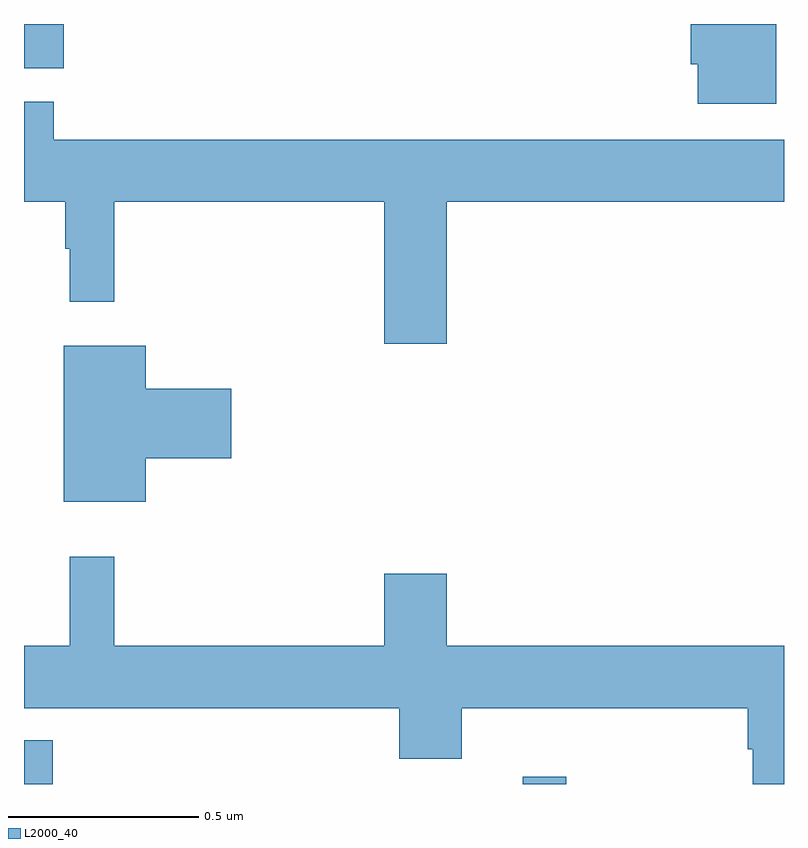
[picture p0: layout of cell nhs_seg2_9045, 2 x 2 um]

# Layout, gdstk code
import gdstk
lib = gdstk.Library(unit=1e-6, precision=1e-09)
def R(c, l, rs):  # rectangles x0, y0, x1, y1
    for r in rs: c.add(gdstk.rectangle(r[:2], r[2:], *l))
def P(c, l, *ps):  # polygons
    for p in ps: c.add(gdstk.Polygon(p, *l))
L2000_40 = (2000, 40)

nhs_seg2_9045 = lib.new_cell('nhs_seg2_9045')
R(nhs_seg2_9045, L2000_40, [(224,616.8,224.075,616.915), (225.312,616.8,225.427,616.819), (224,618.683,224.105,618.8)])
P(nhs_seg2_9045, L2000_40, [(225.979,618.8),(225.754,618.8),(225.754,618.694),(225.773,618.694),(225.773,618.59),(225.979,618.59)],
  [(225.112,618.332),(226,618.332),(226,618.496),(224.078,618.496),(224.078,618.595),(224,618.595),(224,618.332),(224.109,618.332),(224.109,618.209),(224.12,618.209),(224.12,618.069),(224.237,618.069),(224.237,618.332),(224.948,618.332),(224.948,617.958),(225.112,617.958)],
  [(224.32,617.657),(224.545,617.657),(224.545,617.84),(224.32,617.84),(224.32,617.953),(224.105,617.953),(224.105,617.543),(224.32,617.543)],
  [(226,617.164),(225.112,617.164),(225.112,617.353),(224.948,617.353),(224.948,617.164),(224.237,617.164),(224.237,617.398),(224.12,617.398),(224.12,617.164),(224,617.164),(224,617),(224.987,617),(224.987,616.867),(225.152,616.867),(225.152,617),(225.905,617),(225.905,616.891),(225.918,616.891),(225.918,616.8),(226,616.8)])

lib.write_gds('nhs_seg2_9045.gds')
